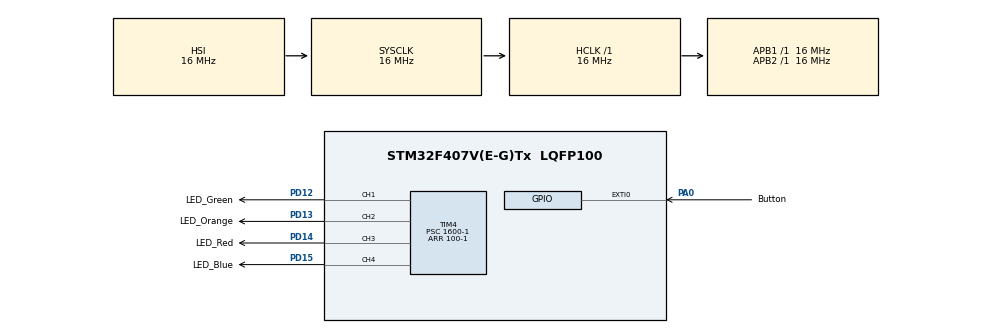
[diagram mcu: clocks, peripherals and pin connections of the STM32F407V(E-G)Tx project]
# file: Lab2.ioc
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Dma.Request0=TIM4_CH1
Dma.Request1=TIM4_CH2
Dma.Request2=TIM4_CH3
Dma.Request3=TIM4_UP
Dma.TIM4_CH1.0.Direction=DMA_MEMORY_TO_PERIPH
Dma.TIM4_CH1.0.FIFOMode=DMA_FIFOMODE_DISABLE
Dma.TIM4_CH1.0.Instance=DMA1_Stream0
Dma.TIM4_CH1.0.MemDataAlignment=DMA_MDATAALIGN_BYTE
Dma.TIM4_CH1.0.MemInc=DMA_MINC_ENABLE
Dma.TIM4_CH1.0.Mode=DMA_CIRCULAR
Dma.TIM4_CH1.0.PeriphDataAlignment=DMA_PDATAALIGN_BYTE
Dma.TIM4_CH1.0.PeriphInc=DMA_PINC_DISABLE
Dma.TIM4_CH1.0.Priority=DMA_PRIORITY_LOW
Dma.TIM4_CH2.1.Direction=DMA_MEMORY_TO_PERIPH
Dma.TIM4_CH2.1.FIFOMode=DMA_FIFOMODE_DISABLE
Dma.TIM4_CH2.1.Instance=DMA1_Stream3
Dma.TIM4_CH2.1.MemDataAlignment=DMA_MDATAALIGN_BYTE
Dma.TIM4_CH2.1.MemInc=DMA_MINC_ENABLE
Dma.TIM4_CH2.1.Mode=DMA_CIRCULAR
Dma.TIM4_CH2.1.PeriphDataAlignment=DMA_PDATAALIGN_BYTE
Dma.TIM4_CH2.1.PeriphInc=DMA_PINC_DISABLE
Dma.TIM4_CH2.1.Priority=DMA_PRIORITY_LOW
Dma.TIM4_CH3.2.Direction=DMA_MEMORY_TO_PERIPH
Dma.TIM4_CH3.2.FIFOMode=DMA_FIFOMODE_DISABLE
Dma.TIM4_CH3.2.Instance=DMA1_Stream7
Dma.TIM4_CH3.2.MemDataAlignment=DMA_MDATAALIGN_BYTE
Dma.TIM4_CH3.2.MemInc=DMA_MINC_ENABLE
Dma.TIM4_CH3.2.Mode=DMA_CIRCULAR
Dma.TIM4_CH3.2.PeriphDataAlignment=DMA_PDATAALIGN_BYTE
Dma.TIM4_CH3.2.PeriphInc=DMA_PINC_DISABLE
Dma.TIM4_CH3.2.Priority=DMA_PRIORITY_LOW
Dma.TIM4_UP.3.Direction=DMA_MEMORY_TO_PERIPH
Dma.TIM4_UP.3.FIFOMode=DMA_FIFOMODE_DISABLE
Dma.TIM4_UP.3.Instance=DMA1_Stream6
Dma.TIM4_UP.3.MemDataAlignment=DMA_MDATAALIGN_BYTE
Dma.TIM4_UP.3.MemInc=DMA_MINC_ENABLE
Dma.TIM4_UP.3.Mode=DMA_CIRCULAR
Dma.TIM4_UP.3.PeriphDataAlignment=DMA_PDATAALIGN_BYTE
Dma.TIM4_UP.3.PeriphInc=DMA_PINC_DISABLE
Dma.TIM4_UP.3.Priority=DMA_PRIORITY_LOW
Mcu.Family=STM32F4
Mcu.Name=STM32F407V(E-G)Tx
Mcu.Package=LQFP100
NVIC.DMA1_Stream0_IRQn=true\:0\:0\:false\:false\:true\:false\:true\:true
NVIC.DMA1_Stream3_IRQn=true\:0\:0\:false\:false\:true\:false\:true\:true
NVIC.DMA1_Stream6_IRQn=true\:0\:0\:false\:false\:true\:false\:true\:true
NVIC.DMA1_Stream7_IRQn=true\:0\:0\:false\:false\:true\:false\:true\:true
NVIC.EXTI0_IRQn=true\:0\:0\:false\:false\:true\:true\:true\:true
NVIC.PriorityGroup=NVIC_PRIORITYGROUP_4
PA0-WKUP.GPIO_Label=Button
PA0-WKUP.Signal=GPXTI0
PA13.Mode=Serial_Wire
PA13.Signal=SYS_JTMS-SWDIO
PA14.Mode=Serial_Wire
PA14.Signal=SYS_JTCK-SWCLK
PD12.GPIO_Label=LED_Green
PD12.Signal=S_TIM4_CH1
PD13.GPIO_Label=LED_Orange
PD13.Signal=S_TIM4_CH2
PD14.GPIO_Label=LED_Red
PD14.Signal=S_TIM4_CH3
PD15.GPIO_Label=LED_Blue
PD15.Signal=S_TIM4_CH4
ProjectManager.HeapSize=0x200
ProjectManager.StackSize=0x400
ProjectManager.TargetToolchain=STM32CubeIDE
RCC.AHBFreq_Value=16000000
RCC.APB1Freq_Value=16000000
RCC.APB2Freq_Value=16000000
RCC.CortexFreq_Value=16000000
RCC.HSE_VALUE=25000000
RCC.HSI_VALUE=16000000
RCC.LSE_VALUE=32768
RCC.SYSCLKFreq_VALUE=16000000
RCC.VCOOutputFreq_Value=192000000
SH.S_TIM4_CH1.0=TIM4_CH1,PWM Generation1 CH1
SH.S_TIM4_CH2.0=TIM4_CH2,PWM Generation2 CH2
SH.S_TIM4_CH3.0=TIM4_CH3,PWM Generation3 CH3
SH.S_TIM4_CH4.0=TIM4_CH4,PWM Generation4 CH4
TIM4.Channel-PWM\ Generation1\ CH1=TIM_CHANNEL_1
TIM4.Channel-PWM\ Generation2\ CH2=TIM_CHANNEL_2
TIM4.Channel-PWM\ Generation3\ CH3=TIM_CHANNEL_3
TIM4.Channel-PWM\ Generation4\ CH4=TIM_CHANNEL_4
TIM4.OC1Preload_PWM=DISABLE
TIM4.OC2Preload_PWM=DISABLE
TIM4.OC3Preload_PWM=DISABLE
TIM4.OC4Preload_PWM=DISABLE
TIM4.OCMode_PWM-PWM\ Generation1\ CH1=TIM_OCMODE_PWM2
TIM4.OCMode_PWM-PWM\ Generation2\ CH2=TIM_OCMODE_PWM2
TIM4.OCMode_PWM-PWM\ Generation3\ CH3=TIM_OCMODE_PWM2
TIM4.OCMode_PWM-PWM\ Generation4\ CH4=TIM_OCMODE_PWM2
TIM4.OCPolarity_1=TIM_OCPOLARITY_LOW
TIM4.OCPolarity_2=TIM_OCPOLARITY_LOW
TIM4.OCPolarity_3=TIM_OCPOLARITY_LOW
TIM4.OCPolarity_4=TIM_OCPOLARITY_LOW
TIM4.Period=100-1
TIM4.Prescaler=1600-1
VP_TIM4_VS_ClockSourceINT.Mode=Internal
board=custom

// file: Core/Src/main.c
/* USER CODE BEGIN Header */
/**
  ******************************************************************************
  * @file           : main.c
  * @brief          : Main program body
  ******************************************************************************
  * @attention
  *
  * Copyright (c) 2024 STMicroelectronics.
  * All rights reserved.
  *
  * This software is licensed under terms that can be found in the LICENSE file
  * in the root directory of this software component.
  * If no LICENSE file comes with this software, it is provided AS-IS.
  *
  ******************************************************************************
  */
/* USER CODE END Header */
#include "main.h"
#include "dma.h"
#include "tim.h"
#include "gpio.h"

/* USER CODE BEGIN Includes */
#include "stdint.h"
#include "leds.h"
/* USER CODE END Includes */

/* USER CODE BEGIN PTD */
typedef enum
{
	FORWARD = 0,
	REVERSE = 1
}direction_e_t;
/* USER CODE END PTD */

/* USER CODE BEGIN PD */
#define LED_POWER_ARR_LEN 400
/* USER CODE END PD */

/* USER CODE BEGIN PV */
uint8_t led_power = 0;
direction_e_t direction = FORWARD;

uint8_t led_power_arr[LED_POWER_ARR_LEN] = {0};
uint8_t led_power_arr_reverse[LED_POWER_ARR_LEN] = {0};
/* USER CODE END PV */

void SystemClock_Config(void);

/* USER CODE BEGIN 0 */
void LED_Blink(void);
void LED_Blink_DMA_Init(void);
/* USER CODE END 0 */

int main(void)
{

  /* MCU Configuration--------------------------------------------------------*/

  /* Reset of all peripherals, Initializes the Flash interface and the Systick. */
  HAL_Init();

  /* Configure the system clock */
  SystemClock_Config();

  /* Initialize all configured peripherals */
  MX_GPIO_Init();
  MX_DMA_Init();
  MX_TIM4_Init();
  /* USER CODE BEGIN 2 */
  leds_PWM_init();  	   //PWM Mode

  //LED_Blink_DMA_Init();  //PWM_DMA Mode
  /* USER CODE END 2 */

  /* Infinite loop */
  while (1)
  {
	  LED_Blink();  //PWM Mode
	  HAL_Delay(20);
  }
}

void SystemClock_Config(void)
{
  RCC_OscInitTypeDef RCC_OscInitStruct = {0};
  RCC_ClkInitTypeDef RCC_ClkInitStruct = {0};

  /** Configure the main internal regulator output voltage
  */
  __HAL_RCC_PWR_CLK_ENABLE();
  __HAL_PWR_VOLTAGESCALING_CONFIG(PWR_REGULATOR_VOLTAGE_SCALE1);

  /** Initializes the RCC Oscillators according to the specified parameters
  * in the RCC_OscInitTypeDef structure.
  */
  RCC_OscInitStruct.OscillatorType = RCC_OSCILLATORTYPE_HSI;
  RCC_OscInitStruct.HSIState = RCC_HSI_ON;
  RCC_OscInitStruct.HSICalibrationValue = RCC_HSICALIBRATION_DEFAULT;
  RCC_OscInitStruct.PLL.PLLState = RCC_PLL_NONE;
  if (HAL_RCC_OscConfig(&RCC_OscInitStruct) != HAL_OK)
  {
    Error_Handler();
  }

  /** Initializes the CPU, AHB and APB buses clocks
  */
  RCC_ClkInitStruct.ClockType = RCC_CLOCKTYPE_HCLK|RCC_CLOCKTYPE_SYSCLK
                              |RCC_CLOCKTYPE_PCLK1|RCC_CLOCKTYPE_PCLK2;
  RCC_ClkInitStruct.SYSCLKSource = RCC_SYSCLKSOURCE_HSI;
  RCC_ClkInitStruct.AHBCLKDivider = RCC_SYSCLK_DIV1;
  RCC_ClkInitStruct.APB1CLKDivider = RCC_HCLK_DIV1;
  RCC_ClkInitStruct.APB2CLKDivider = RCC_HCLK_DIV1;

  if (HAL_RCC_ClockConfig(&RCC_ClkInitStruct, FLASH_LATENCY_0) != HAL_OK)
  {
    Error_Handler();
  }
}

/* USER CODE BEGIN 4 */
void LED_Blink(void)
{
	if(direction == FORWARD)
	{
		led_power++;

		if(led_power == LED_POWER_MAX)
		{
			direction = REVERSE;
		}
	}
	else //direction == REVERSE
	{
		led_power--;

		if(led_power == LED_POWER_MIN)
		{
			direction = FORWARD;
		}
	}
	leds_PWM_set(GREEN, led_power);
	leds_PWM_set(ORANGE, led_power);
	leds_PWM_set(RED, LED_POWER_MAX - led_power);
	leds_PWM_set(BLUE, LED_POWER_MAX - led_power);
}

void LED_Blink_DMA_Init(void)
{
	for(uint8_t i = 0; i < LED_POWER_ARR_LEN; i += 2)
	  {
		  led_power_arr[i] = i/2;
		  led_power_arr[i+1] = i/2;
		  led_power_arr[LED_POWER_ARR_LEN-1 - i] = i/2;
		  led_power_arr[LED_POWER_ARR_LEN-1 - i+1] = i/2;

		  led_power_arr_reverse[i] = 100 - i/2;
		  led_power_arr_reverse[i+1] = 100 - i/2;
		  led_power_arr_reverse[LED_POWER_ARR_LEN-1 - i] = 100 - i/2;
		  led_power_arr_reverse[LED_POWER_ARR_LEN-1 - i+1] = 100 - i/2;
	  }
	  led_power_arr[200] = 100;

	  leds_PWM_DMA_init(GREEN, (const uint32_t *)led_power_arr, (uint16_t)LED_POWER_ARR_LEN);
	  leds_PWM_DMA_init(ORANGE, (const uint32_t *)led_power_arr, (uint16_t)LED_POWER_ARR_LEN);
	  leds_PWM_DMA_init(RED, (const uint32_t *)led_power_arr_reverse, (uint16_t)LED_POWER_ARR_LEN);
	  leds_PWM_DMA_init(BLUE, (const uint32_t *)led_power_arr_reverse, (uint16_t)LED_POWER_ARR_LEN);
}
/* USER CODE END 4 */

void Error_Handler(void)
{
  __disable_irq();
  while (1)
  {
  }
}
